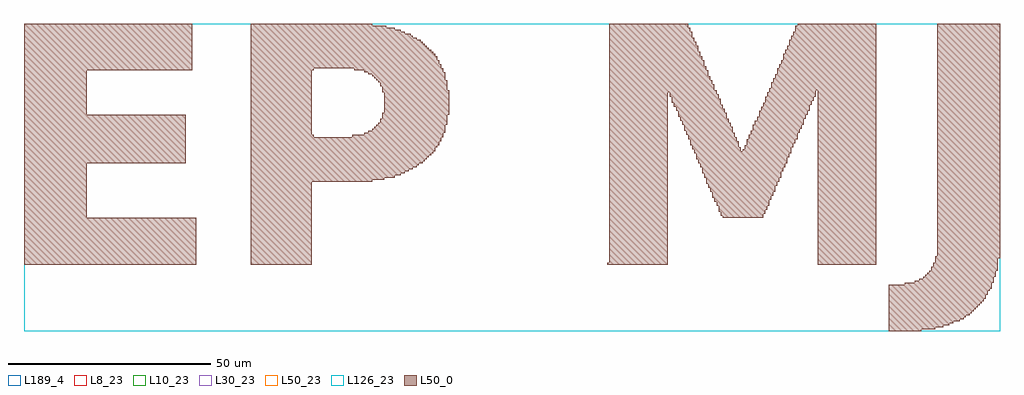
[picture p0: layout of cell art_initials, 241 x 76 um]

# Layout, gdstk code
import gdstk
lib = gdstk.Library(unit=1e-6, precision=1e-09)
def R(c, l, rs):  # rectangles x0, y0, x1, y1
    for r in rs: c.add(gdstk.rectangle(r[:2], r[2:], *l))
def P(c, l, *ps):  # polygons
    for p in ps: c.add(gdstk.Polygon(p, *l))
L8_23 = (8, 23)
L10_23 = (10, 23)
L30_23 = (30, 23)
L50_0 = (50, 0)
L50_23 = (50, 23)
L126_23 = (126, 23)
L189_4 = (189, 4)

art_initials = lib.new_cell('art_initials')
R(art_initials, L8_23, [(0,0,241,76)])
R(art_initials, L10_23, [(0,0,241,76)])
R(art_initials, L30_23, [(0,0,241,76)])
P(art_initials, L50_0, [(0,16.5),(0,76),(41.5,76),(41.5,64.5),(15.5,64.5),(15.5,53.5),(40,53.5),(40,41.5),(15.5,41.5),(15.5,28),(42.5,28),(42.5,16.5)],
  [(56,16.5),(56,65),(71.5,65),(71.5,64.5),(71,64.5),(71,48.5),(71.5,48.5),(71.5,48),(81,48),(81,48.5),(84,48.5),(84,49),(85,49),(85,49.5),(86,49.5),(86,50),(86.5,50),(86.5,50.5),(87,50.5),(87,51),(87.5,51),(87.5,51.5),(88,51.5),(88,52.5),(88.5,52.5),(88.5,54),(89,54),(89,59),(88.5,59),(88.5,60.5),(88,60.5),(88,61.5),(87.5,61.5),(87.5,62),(87,62),(87,62.5),(86.5,62.5),(86.5,63),(86,63),(86,63.5),(85,63.5),(85,64),(84,64),(84,64.5),(81.5,64.5),(81.5,65),(56,65),(56,76),(86,76),(86,75.5),(89.5,75.5),(89.5,75),(91.5,75),(91.5,74.5),(93,74.5),(93,74),(94,74),(94,73.5),(95.5,73.5),(95.5,73),(96,73),(96,72.5),(97,72.5),(97,72),(98,72),(98,71.5),(98.5,71.5),(98.5,71),(99,71),(99,70.5),(99.5,70.5),(99.5,70),(100,70),(100,69.5),(100.5,69.5),(100.5,69),(101,69),(101,68.5),(101.5,68.5),(101.5,68),(102,68),(102,67),(102.5,67),(102.5,66),(103,66),(103,65),(103.5,65),(103.5,64),(104,64),(104,62),(104.5,62),(104.5,59.5),(105,59.5),(105,53.5),(104.5,53.5),(104.5,51),(104,51),(104,49),(103.5,49),(103.5,48),(103,48),(103,47),(102.5,47),(102.5,46),(102,46),(102,45.5),(101.5,45.5),(101.5,44.5),(101,44.5),(101,44),(100.5,44),(100.5,43.5),(100,43.5),(100,43),(99.5,43),(99.5,42.5),(99,42.5),(99,42),(98.5,42),(98.5,41.5),(97.5,41.5),(97.5,41),(97,41),(97,40.5),(96,40.5),(96,40),(95,40),(95,39.5),(94,39.5),(94,39),(93,39),(93,38.5),(91.5,38.5),(91.5,38),(89,38),(89,37.5),(86,37.5),(86,37),(71,37),(71,16.5)],
  [(144,16.5),(144,17),(144.5,17),(144.5,76),(164,76),(164,75),(164.5,75),(164.5,74),(165,74),(165,72.5),(165.5,72.5),(165.5,71.5),(166,71.5),(166,70.5),(166.5,70.5),(166.5,69),(167,69),(167,68),(167.5,68),(167.5,67),(168,67),(168,65.5),(168.5,65.5),(168.5,64.5),(169,64.5),(169,63),(169.5,63),(169.5,62),(170,62),(170,61),(170.5,61),(170.5,59.5),(171,59.5),(171,58.5),(171.5,58.5),(171.5,57.5),(172,57.5),(172,56),(172.5,56),(172.5,55),(173,55),(173,54),(173.5,54),(173.5,52.5),(174,52.5),(174,51.5),(174.5,51.5),(174.5,50.5),(175,50.5),(175,49),(175.5,49),(175.5,48),(176,48),(176,47),(176.5,47),(176.5,45.5),(177,45.5),(177,44.5),(177.5,44.5),(177.5,45),(178,45),(178,46),(178.5,46),(178.5,47.5),(179,47.5),(179,48.5),(179.5,48.5),(179.5,49.5),(180,49.5),(180,51),(180.5,51),(180.5,52),(181,52),(181,53),(181.5,53),(181.5,54.5),(182,54.5),(182,55.5),(182.5,55.5),(182.5,56.5),(183,56.5),(183,58),(183.5,58),(183.5,59),(184,59),(184,60),(184.5,60),(184.5,61.5),(185,61.5),(185,62.5),(185.5,62.5),(185.5,63.5),(186,63.5),(186,65),(186.5,65),(186.5,66),(187,66),(187,67),(187.5,67),(187.5,68.5),(188,68.5),(188,69.5),(188.5,69.5),(188.5,70.5),(189,70.5),(189,72),(189.5,72),(189.5,73),(190,73),(190,74),(190.5,74),(190.5,75.5),(191,75.5),(191,76),(210.5,76),(210.5,16.5),(196,16.5),(196,59.5),(195.5,59.5),(195.5,58),(195,58),(195,57),(194.5,57),(194.5,56),(194,56),(194,54.5),(193.5,54.5),(193.5,53.5),(193,53.5),(193,52.5),(192.5,52.5),(192.5,51),(192,51),(192,50),(191.5,50),(191.5,49),(191,49),(191,47.5),(190.5,47.5),(190.5,46.5),(190,46.5),(190,45.5),(189.5,45.5),(189.5,44),(189,44),(189,43),(188.5,43),(188.5,41.5),(188,41.5),(188,40.5),(187.5,40.5),(187.5,39.5),(187,39.5),(187,38),(186.5,38),(186.5,37),(186,37),(186,36),(185.5,36),(185.5,34.5),(185,34.5),(185,33.5),(184.5,33.5),(184.5,32.5),(184,32.5),(184,31),(183.5,31),(183.5,30),(183,30),(183,29),(182.5,29),(182.5,28),(172.5,28),(172.5,28.5),(172,28.5),(172,29.5),(171.5,29.5),(171.5,31),(171,31),(171,32),(170.5,32),(170.5,33),(170,33),(170,34.5),(169.5,34.5),(169.5,35.5),(169,35.5),(169,36.5),(168.5,36.5),(168.5,38),(168,38),(168,39),(167.5,39),(167.5,40.5),(167,40.5),(167,41.5),(166.5,41.5),(166.5,42.5),(166,42.5),(166,44),(165.5,44),(165.5,45),(165,45),(165,46),(164.5,46),(164.5,47.5),(164,47.5),(164,48.5),(163.5,48.5),(163.5,49.5),(163,49.5),(163,51),(162.5,51),(162.5,52),(162,52),(162,53),(161.5,53),(161.5,54.5),(161,54.5),(161,55.5),(160.5,55.5),(160.5,56.5),(160,56.5),(160,58),(159.5,58),(159.5,59),(159,59),(159,16.5)],
  [(213.5,0),(213.5,11.5),(217.5,11.5),(217.5,12),(220,12),(220,12.5),(221,12.5),(221,13),(222,13),(222,13.5),(222.5,13.5),(222.5,14),(223,14),(223,14.5),(223.5,14.5),(223.5,15),(224,15),(224,16),(224.5,16),(224.5,17),(225,17),(225,18.5),(225.5,18.5),(225.5,76),(241,76),(241,18),(240.5,18),(240.5,15),(240,15),(240,13.5),(239.5,13.5),(239.5,12),(239,12),(239,10.5),(238.5,10.5),(238.5,10),(238,10),(238,9),(237.5,9),(237.5,8),(237,8),(237,7.5),(236.5,7.5),(236.5,7),(236,7),(236,6.5),(235.5,6.5),(235.5,6),(235,6),(235,5.5),(234.5,5.5),(234.5,5),(234,5),(234,4.5),(233.5,4.5),(233.5,4),(232.5,4),(232.5,3.5),(232,3.5),(232,3),(231,3),(231,2.5),(229.5,2.5),(229.5,2),(228.5,2),(228.5,1.5),(227,1.5),(227,1),(225,1),(225,0.5),(221.5,0.5),(221.5,0)])
R(art_initials, L50_23, [(0,0,241,76)])
R(art_initials, L126_23, [(0,0,241,76)])
R(art_initials, L189_4, [(0,0,241,76)])

lib.write_gds('art_initials.gds')
